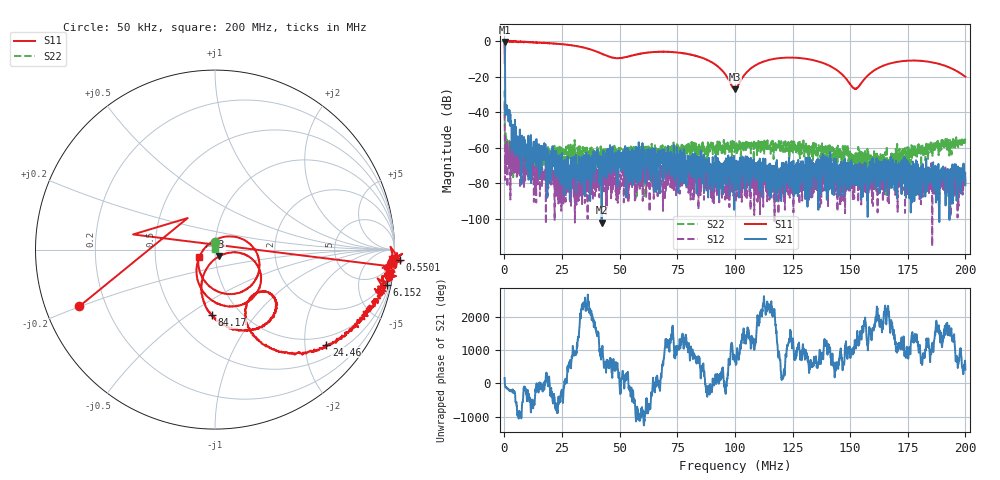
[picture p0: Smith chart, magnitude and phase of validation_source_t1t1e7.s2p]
! 23-Mar-26 12:01:18 PM
! E:\UPDATEDVNAMEASUREMENTS\CAL_S11S\VALIDATION_SOURCE_T1T1E7.S2P
! CHANNEL.1
! TR.MEASUREMENT
! CORRECTED.DATA
# GHZ S RI R 50.0
! FREQ.GHZ  S11RE  S11IM  S21RE  S21IM  S12RE  S12IM  S22RE  S22IM
!; PortSelection: Port_12
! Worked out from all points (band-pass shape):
!   2000 points, 50 kHz to 200 MHz, reference 50 ohm
!   highest |S21| = -0.47 dB at 50 kHz (marker M1); lowest = -102.1 dB at 42.16 MHz (marker M2)
!   |S21| within 3 dB of the highest: start of sweep to 155.8 kHz
!   lowest |S11| = -27.1 dB at 99.97 MHz (marker M3), VSWR 1.09, Z = 52.2 - j3.93 ohm
!   |S11| at or under -10 dB: 125.6 kHz to 194.6 kHz (68.97 kHz wide, 43.1 % of centre); 86.94 MHz to 116.9 MHz (30.01 MHz wide, 29.4 % of centre); 131 MHz to end of sweep
!   |S22| runs from -88.5 to -27.7 dB; largest |S21 - S12| = 0.93
!   S11 on the Smith chart (normalised r, x): 50 kHz: 0.10, -0.20; 550.1 kHz: -15, -27; 6.152 MHz: 1.01, -9.67; 24.46 MHz: 0.79, -2.50; 84.17 MHz: 0.74, -0.62; 200 MHz: 0.83, -0.07
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5e-05  -0.7556 -0.316  -0.9055 0.2788  -0.0115 0.0134  -0.00183 0.0412
0.000550125  1.031 -0.0587  -0.00373 -0.0123  2.67e-05 -0.00114  0.000275 0.000999
0.001350325  1.003 -0.1038  -0.00996 -0.00314  -0.00054 0.000302  -0.000384 -0.00019
0.004151026  0.9906 -0.1525  -0.000428 0.00174  9.7e-06 0.000476  0.000222 3.75e-05
0.006151526  0.9588 -0.1983  0.00111 0.000383  5.65e-05 -0.000259  0.00107 -0.00036
0.01715428  0.7794 -0.4145  -0.000699 -0.000467  0.000139 -0.000193  0.00066 0.000273
0.0192548  0.7432 -0.4574  0.000108 9.88e-05  0.000261 4.4e-05  0.000765 0.000505
0.0244561  0.6209 -0.5288  6.68e-05 0.000195  6.13e-05 0.000124  0.00065 0.000773
0.03345835  0.3698 -0.5675  -0.000138 0.000523  1.98e-05 6.19e-05  0.000414 0.000607
0.03985996  0.2091 -0.4658  -0.000383 0.000522  -3.28e-05 0.000179  0.000554 -4.85e-05
0.04216053  0.1769 -0.4056  -7.7e-06 -1.4e-06  -2.3e-05 0.000102  -8.16e-05 0.000149
0.04506126  0.1669 -0.3315  -0.000916 0.000186  7.88e-05 -8.6e-06  -0.000209 0.00067
0.06676668  0.3046 -0.3946  0.000168 -0.000812  -4.84e-05 0.000161  0.000517 0.000384
0.08417104  -0.0195 -0.3648  -0.000105 0.000457  1.6e-06 1.86e-05  0.000488 0.000799
0.09997499  0.0227 -0.0376  6.52e-05 -0.000121  0.000134 -6.33e-05  0.000376 0.000767
0.100075  0.0239 -0.0374  3.17e-05 9.55e-05  0.000109 6.8e-06  0.000779 0.000608
0.1122781  0.2439 -0.1009  -0.000499 5.2e-06  -9.5e-06 -1.97e-05  0.000631 0.00117
0.1333833  0.00605 -0.297  -0.000291 0.000348  0.000235 4.77e-05  -6.94e-05 0.000822
0.152188  -0.0286 0.0351  -0.000173 -8.92e-05  4.79e-05 -0.000145  0.000365 0.000649
0.1666917  0.229 -0.0121  -7.08e-05 -0.00022  -0.000191 6.16e-05  0.000293 0.000305
0.1842961  0.0845 -0.248  0.00016 0.000225  0.000192 -0.000113  0.00113 3.87e-05
0.2  -0.0915 -0.0393  5.35e-05 7.04e-05  9.51e-05 7.6e-06  0.0015 0.000767
